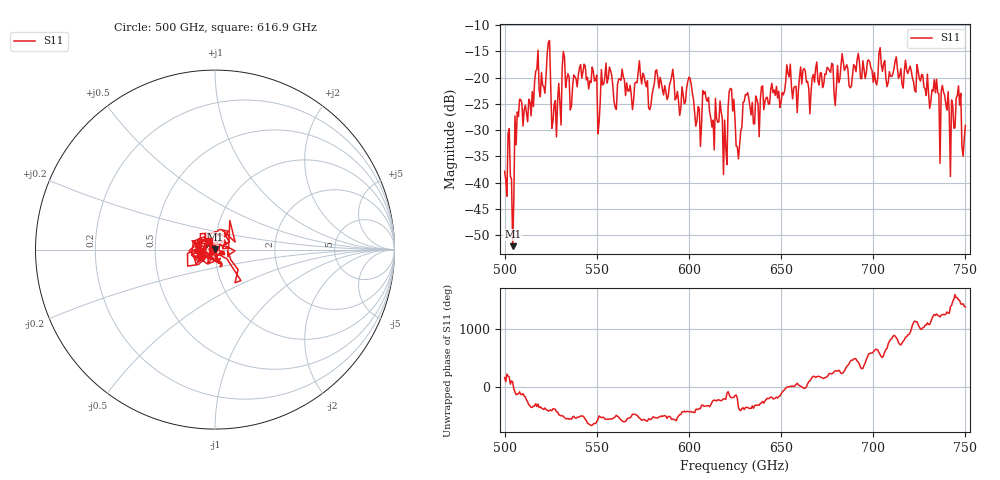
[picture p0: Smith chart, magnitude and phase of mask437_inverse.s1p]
!Created with skrf (http://scikit-rf.org).
# GHz S MA R 50.0
!freq magS11 angS11
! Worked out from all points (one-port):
!   401 points, 500 GHz to 750 GHz, reference 50 ohm
!   lowest |S11| = -52.1 dB at 504.4 GHz (marker M1), VSWR 1.01, Z = 50 + j0.249 ohm
!   |S11| at or under -10 dB: start of sweep to end of sweep
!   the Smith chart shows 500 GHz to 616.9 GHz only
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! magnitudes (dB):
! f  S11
! 500 GHz  -37.8
! 504.4 GHz  -52.1
! 508.1 GHz  -24.1
! 523.8 GHz  -13.3
! 526.9 GHz  -25.1
! 531.2 GHz  -18.1
! 548.8 GHz  -20.7
! 551.9 GHz  -24.7
! 553.8 GHz  -21.3
! 562.5 GHz  -20.3
! 579.4 GHz  -25.3
! 590.6 GHz  -19.8
! 593.8 GHz  -22.6
! 600.6 GHz  -20.1
! 605 GHz  -25.5
! 608.8 GHz  -22.7
! 619.4 GHz  -28.1
! 623.1 GHz  -22.2
! 625 GHz  -27.9
! 626.9 GHz  -35.5
! 630.6 GHz  -23.2
! 656.2 GHz  -24.1
! 687.5 GHz  -22.0
! 718.8 GHz  -19.2
! 738.1 GHz  -22.8
! 743.1 GHz  -25.2
! 746.2 GHz  -21.6
! 750 GHz  -29.1
